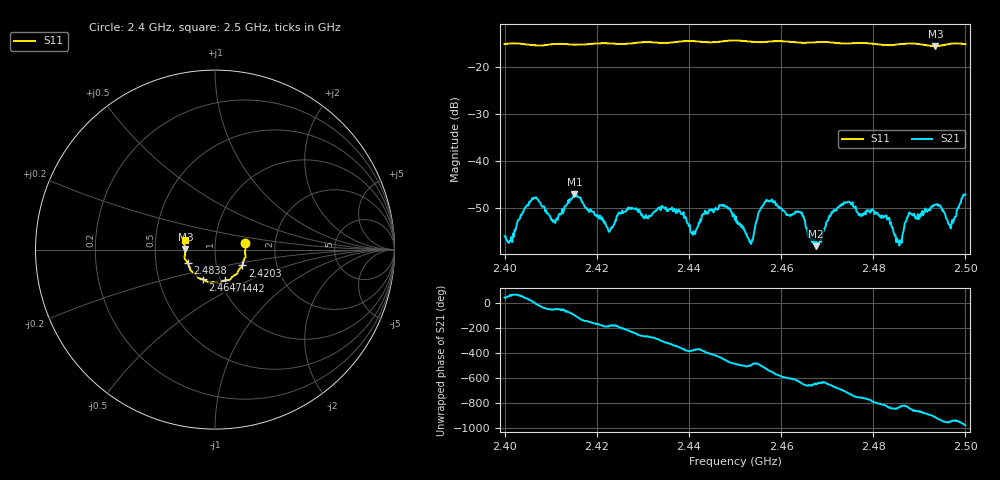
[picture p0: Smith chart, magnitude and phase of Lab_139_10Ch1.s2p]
# Hz S RI R 50
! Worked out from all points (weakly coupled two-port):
!   601 points, 2.4 GHz to 2.5 GHz, reference 50 ohm
!   highest |S21| = -47.03 dB at 2.4152 GHz (marker M1); lowest = -58.0 dB at 2.4675 GHz (marker M2)
!   lowest |S11| = -15.6 dB at 2.4935 GHz (marker M3), VSWR 1.40, Z = 35.8 + j0.0931 ohm
!   |S11| at or under -10 dB: start of sweep to end of sweep
!   S12 and S22 are empty: the file has one direction only
!   S11 on the Smith chart (normalised r, x): 2.4 GHz: 1.40, +0.11; 2.4203 GHz: 1.34, -0.24; 2.4442 GHz: 1.06, -0.37; 2.4647 GHz: 0.83, -0.29; 2.4838 GHz: 0.73, -0.11; 2.5 GHz: 0.71, +0.08
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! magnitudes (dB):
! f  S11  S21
! 2.4 GHz  -15.2  -56.0
! 2.4063 GHz  -15.5  -47.8
! 2.4107 GHz  -15.2  -52.6
! 2.4152 GHz  -15.4  -47.0
! 2.4167 GHz  -15.3  -48.4
! 2.4203 GHz  -15.1  -51.8
! 2.4333 GHz  -14.9  -49.9
! 2.4408 GHz  -14.6  -55.6
! 2.4442 GHz  -14.8  -51.1
! 2.45 GHz  -14.4  -52.5
! 2.4533 GHz  -14.7  -57.1
! 2.4568 GHz  -14.7  -48.2
! 2.4647 GHz  -14.9  -51.7
! 2.4667 GHz  -14.9  -57.1
! 2.4675 GHz  -14.8  -58.0
! 2.4742 GHz  -15.1  -48.8
! 2.4833 GHz  -15.4  -52.3
! 2.4838 GHz  -15.4  -53.1
! 2.4857 GHz  -15.2  -57.9
! 2.4935 GHz  -15.6  -49.2
! 2.4968 GHz  -15.1  -54.3
! 2.5 GHz  -15.2  -47.1
